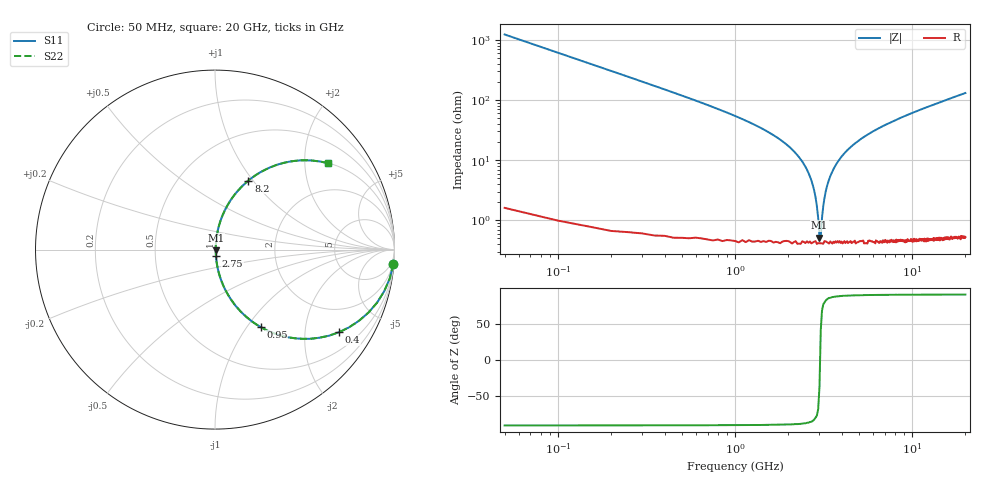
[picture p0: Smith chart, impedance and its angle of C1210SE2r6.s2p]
! AVX Thin Film Operation		Date: April 2012
! Description: Accu-P® Series, Thin Film, SMD, RF Capacitor
! Part Number: 12101J2R6QBTTR
!	100	MHz	-	20.05	GHz
!	Serial	Measurements
#	MHZ	S	MA	R	50
!	S11	S21	S12	S22
!	dB	Phase	dB	Phase	dB	Phase	dB	Phase
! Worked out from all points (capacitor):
!   400 points, 50 MHz to 20 GHz, reference 50 ohm
!   read as one part in series: C = 2.6 pF near 150 MHz
!   lowest |Z| = 518 mohm at 3 GHz (marker M1)
!   series resonance near 3.023 GHz, so ESL is about 1.1 nH
!   S11 on the Smith chart (normalised r, x): 50 MHz: 1, -24; 400 MHz: 1.01, -3.01; 950 MHz: 1.01, -1.16; 2.75 GHz: 1.01, -0.08; 8.2 GHz: 1.01, +0.95; 20 GHz: 1.01, +2.62
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50  0.997 -4.7  0.081 85.3  0.081 85.3  0.997 -4.7
150  0.971 -13.8  0.238 76.1  0.238 76.1  0.971 -13.8
400  0.831 -33.6  0.553 56.2  0.553 56.2  0.831 -33.6
950  0.5 -59.5  0.862 30.0  0.862 30.0  0.5 -59.5
2150  0.139 -80.3  0.986 8.0  0.986 8.0  0.139 -80.3
2500  0.077 -82.4  0.993 4.4  0.993 4.4  0.077 -82.4
2750  0.038 -81.4  0.995 2.2  0.995 2.2  0.038 -81.4
2900  0.017 -74.7  0.996 1.0  0.996 1.0  0.017 -74.7
2950  0.011 -65.9  0.996 0.6  0.996 0.6  0.011 -65.9
3000  0.005277 -35.5  0.996 0.2  0.996 0.2  0.005277 -35.5
3050  0.005587 39.7  0.996 -0.2  0.996 -0.2  0.005587 39.7
3100  0.011 66.5  0.996 -0.6  0.996 -0.6  0.011 66.5
3200  0.023 78.1  0.995 -1.3  0.995 -1.3  0.023 78.1
3400  0.048 82.1  0.995 -2.7  0.995 -2.7  0.048 82.1
3800  0.093 82.0  0.991 -5.3  0.991 -5.3  0.093 82.0
4500  0.163 79.1  0.982 -9.4  0.982 -9.4  0.163 79.1
6700  0.335 69.7  0.938 -19.6  0.938 -19.6  0.335 69.7
8200  0.427 64.2  0.9 -25.3  0.9 -25.3  0.427 64.2
10050  0.52 58.2  0.85 -31.4  0.85 -31.4  0.52 58.2
13350  0.645 49.5  0.76 -40.2  0.76 -40.2  0.645 49.5
16700  0.733 42.6  0.677 -47.1  0.677 -47.1  0.733 42.6
20000  0.793 37.3  0.606 -52.5  0.606 -52.5  0.793 37.3
